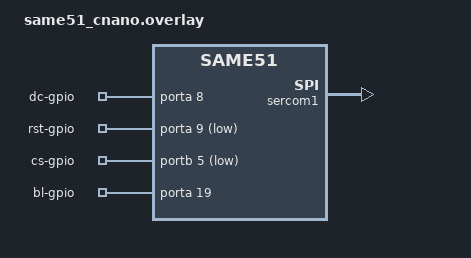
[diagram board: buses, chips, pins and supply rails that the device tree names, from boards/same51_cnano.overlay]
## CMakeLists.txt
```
# SPDX-License-Identifier: Apache-2.0

cmake_minimum_required(VERSION 3.20.0)

find_package(Zephyr REQUIRED HINTS $ENV{ZEPHYR_BASE})
project(spi_ili9341_test)

target_sources(app PRIVATE src/main.c)
```

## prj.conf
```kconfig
CONFIG_SPI=y
CONFIG_REBOOT=y
CONFIG_LOG=y
CONFIG_LOG_DEFAULT_LEVEL=4
CONFIG_UART_CONSOLE=y       # Enable UART console output
CONFIG_LOG_BACKEND_UART=y   # Ensure logs go to UART
```

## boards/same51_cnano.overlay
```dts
/*
 * Copyright (c) 2025 Joselito Rapisora
 *
 * SPDX-License-Identifier: Apache-2.0
 */

&sercom1 {  /* Choose the correct SERCOM instance */
    compatible = "atmel,sam0-spi";
    status = "okay";
    pinctrl-0 = <&sercom1_spi_default>;
    pinctrl-names = "default";
};

/ {
    ili9341_gpios: ili9341_gpios {
        compatible = "gpio-keys";  /* Generic container */
        
        dc-gpio {
            gpios = <&porta 8 GPIO_ACTIVE_HIGH>;
        };

        rst-gpio {
            gpios = <&porta 9 GPIO_ACTIVE_LOW>;
        };

        cs-gpio {
            gpios = <&portb 5 GPIO_ACTIVE_LOW>;
        };

        bl-gpio {
            gpios = <&porta 19 GPIO_ACTIVE_HIGH>;
        };        
    };
};
```

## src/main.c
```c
/*
 * Zephyr SPI ILI9341 Basic Display Test for SAME51
 * Sends initialization commands to ILI9341 and fills screen with red color
 */

#include <zephyr/device.h>
#include <zephyr/drivers/gpio.h>
#include <zephyr/drivers/spi.h>
#include <zephyr/kernel.h>
#include <zephyr/sys/reboot.h>
#include <zephyr/logging/log.h>

#define ILI9341_CS_HI()  gpio_pin_set_dt(&ili9341_cs, 1)
#define ILI9341_CS_LO()  gpio_pin_set_dt(&ili9341_cs, 0)
#define ILI9341_DC_DAT() gpio_pin_set_dt(&ili9341_dc, 1)
#define ILI9341_DC_CMD() gpio_pin_set_dt(&ili9341_dc, 0)
#define ILI9341_RST_HI() gpio_pin_set_dt(&ili9341_rst, 1)
#define ILI9341_RST_LO() gpio_pin_set_dt(&ili9341_rst, 0)

LOG_MODULE_REGISTER(main, LOG_LEVEL_DBG);

/* GPIOs from the overlay */
static const struct gpio_dt_spec ili9341_dc = GPIO_DT_SPEC_GET(DT_PATH(ili9341_gpios, dc_gpio), gpios);
static const struct gpio_dt_spec ili9341_rst = GPIO_DT_SPEC_GET(DT_PATH(ili9341_gpios, rst_gpio), gpios);
static const struct gpio_dt_spec ili9341_cs = GPIO_DT_SPEC_GET(DT_PATH(ili9341_gpios, cs_gpio), gpios);
static const struct gpio_dt_spec ili9341_bl = GPIO_DT_SPEC_GET(DT_PATH(ili9341_gpios, bl_gpio), gpios);
static const struct gpio_dt_spec button = GPIO_DT_SPEC_GET(DT_ALIAS(sw0), gpios);
static struct gpio_callback button_cb_data;    

/* SPI Device */
static const struct device *spi_dev = DEVICE_DT_GET(DT_NODELABEL(sercom1));
struct spi_config spi_cfg = {
	.operation = SPI_WORD_SET(8) | SPI_TRANSFER_MSB | SPI_OP_MODE_MASTER,
	.frequency = 10000000,
	.slave = 0,
};

void button_pressed(const struct device *dev, struct gpio_callback *cb, uint32_t pins)
{
	sys_reboot(SYS_REBOOT_COLD); // Soft reset
}

/* Ensure the device is ready */
void ili9341_gpio_init()
{
	if (!device_is_ready(ili9341_dc.port) || !device_is_ready(ili9341_rst.port) ||
	    !device_is_ready(ili9341_cs.port) || !device_is_ready(ili9341_bl.port)) {
		LOG_ERR("GPIO device not ready!");
		return;
	}
	gpio_pin_configure_dt(&ili9341_rst, GPIO_OUTPUT_ACTIVE);
	gpio_pin_configure_dt(&ili9341_cs, GPIO_OUTPUT_ACTIVE);
	gpio_pin_configure_dt(&ili9341_bl, GPIO_OUTPUT_INACTIVE);
	gpio_pin_configure_dt(&ili9341_dc, GPIO_OUTPUT_INACTIVE);
}

void reset_button_init(){
	if (!device_is_ready(button.port)) {
		LOG_ERR("Button device not ready!");
		return;
	}
	gpio_pin_configure_dt(&button, GPIO_INPUT);
	gpio_pin_interrupt_configure_dt(&button, GPIO_INT_EDGE_TO_ACTIVE);
	gpio_init_callback(&button_cb_data, button_pressed, BIT(button.pin));
	gpio_add_callback(button.port, &button_cb_data);
}


/* Turn Backlight ON or OFF */
void ili9341_set_backlight(bool on)
{
	gpio_pin_set_dt(&ili9341_bl, on ? 1 : 0);
	LOG_INF("Backlight %s", on ? "ON" : "OFF");
}

/* Reset the display */
void ili9341_reset()
{
	ILI9341_RST_LO();
	k_sleep(K_MSEC(1));
	ILI9341_RST_HI();
	k_sleep(K_MSEC(20));
	ILI9341_RST_LO();
	k_sleep(K_MSEC(20));
}

/* Send SPI command */
void ili9341_send_cmd(uint8_t cmd)
{
	ILI9341_CS_HI();
	ILI9341_DC_CMD();
	struct spi_buf tx_buf = {.buf = &cmd, .len = 1};
	struct spi_buf_set tx = {.buffers = &tx_buf, .count = 1};
	spi_transceive(spi_dev, &spi_cfg, &tx, NULL);
	ILI9341_CS_LO();
}

/* Send SPI data */
void ili9341_send_data(uint8_t data)
{
	ILI9341_CS_HI();
	ILI9341_DC_DAT();
	struct spi_buf tx_buf = {.buf = &data, .len = 1};
	struct spi_buf_set tx = {.buffers = &tx_buf, .count = 1};
	spi_transceive(spi_dev, &spi_cfg, &tx, NULL);
	ILI9341_CS_LO();
}

/* Initialize ILI9341 */
void ili9341_init()
{
	ili9341_reset();

	// Power Control A
	ili9341_send_cmd(0xCF);
	ili9341_send_data(0x00);
	ili9341_send_data(0xC1);
	ili9341_send_data(0x30);

	// Power Control B
	ili9341_send_cmd(0xED);
	ili9341_send_data(0x64);
	ili9341_send_data(0x03);
	ili9341_send_data(0x12);
	ili9341_send_data(0x81);

	// Driver Timing Control A
	ili9341_send_cmd(0xE8);
	ili9341_send_data(0x85);
	ili9341_send_data(0x10);
	ili9341_send_data(0x79);

	// Driver Timing Control B
	ili9341_send_cmd(0xCB);
	ili9341_send_data(0x39);
	ili9341_send_data(0x2C);
	ili9341_send_data(0x00);
	ili9341_send_data(0x34);
	ili9341_send_data(0x02);

	// Power on Sequence Control
	ili9341_send_cmd(0xEA);
	ili9341_send_data(0x00);
	ili9341_send_data(0x00);

	// Pump Ratio Control
	ili9341_send_cmd(0xF7);
	ili9341_send_data(0x20);

	// Power Control 1
	ili9341_send_cmd(0xC0);
	ili9341_send_data(0x23);

	// Power Control 2
	ili9341_send_cmd(0xC1);
	ili9341_send_data(0x11);

	// VCOM Control 1
	ili9341_send_cmd(0xC5);
	ili9341_send_data(0x3D);
	ili9341_send_data(0x30);

	// VCOM Control 2
	ili9341_send_cmd(0xC7);
	ili9341_send_data(0xAA);

	// Memory Access Control
	ili9341_send_cmd(0x36);
	ili9341_send_data(0xC8); // Adjust for screen rotation if needed

	// Pixel Format Set
	ili9341_send_cmd(0x3A);
	ili9341_send_data(0x55); // 16-bit color

	// Frame Rate Control
	ili9341_send_cmd(0xB1);
	ili9341_send_data(0x00);
	ili9341_send_data(0x11);

	// Display Function Control
	ili9341_send_cmd(0xB6);
	ili9341_send_data(0x0A);
	ili9341_send_data(0xA2);

	// Gamma Function Disable
	ili9341_send_cmd(0xF2);
	ili9341_send_data(0x00);

	// Gamma Curve Selected
	ili9341_send_cmd(0x26);
	ili9341_send_data(0x01);

	// Positive Gamma Correction
	ili9341_send_cmd(0xE0);
	ili9341_send_data(0x0F);
	ili9341_send_data(0x3F);
	ili9341_send_data(0x2F);
	ili9341_send_data(0x0C);
	ili9341_send_data(0x10);
	ili9341_send_data(0x0A);
	ili9341_send_data(0x53);
	ili9341_send_data(0xD5);
	ili9341_send_data(0x40);
	ili9341_send_data(0x0A);
	ili9341_send_data(0x13);
	ili9341_send_data(0x03);
	ili9341_send_data(0x08);
	ili9341_send_data(0x03);
	ili9341_send_data(0x00);

	// Negative Gamma Correction
	ili9341_send_cmd(0xE1);
	ili9341_send_data(0x00);
	ili9341_send_data(0x00);
	ili9341_send_data(0x10);
	ili9341_send_data(0x3F);
	ili9341_send_data(0x0F);
	ili9341_send_data(0x05);
	ili9341_send_data(0x2C);
	ili9341_send_data(0xA2);
	ili9341_send_data(0x3F);
	ili9341_send_data(0x05);
	ili9341_send_data(0x0E);
	ili9341_send_data(0x0C);
	ili9341_send_data(0x37);
	ili9341_send_data(0x3C);
	ili9341_send_data(0x0F);

	// Exit Sleep
	ili9341_send_cmd(0x11);
	k_sleep(K_MSEC(80));

	// Display ON
	ili9341_send_cmd(0x29);
}

/* Fill Screen with a Color */
void ili9341_fill_screen(uint16_t color)
{
	ili9341_send_cmd(0x2C); // Memory Write
	uint8_t hi = color >> 8;
	uint8_t lo = color & 0xFF;
	for (int i = 0; i < 320 * 240; i++) { // Adjust for your resolution
		ili9341_send_data(hi);
		ili9341_send_data(lo);
	}
}

void main(void)
{
    LOG_INF("Starting Main...");
    reset_button_init();
	ili9341_gpio_init();
	ili9341_set_backlight(true);
	ili9341_init();
	while (1) {
        ili9341_fill_screen(0xFFFF); // White
        ili9341_fill_screen(0x0000); // Black
		ili9341_fill_screen(0xF800); // Red
		ili9341_fill_screen(0x07E0); // Green
		ili9341_fill_screen(0x001F); // Blue
	}
}
```
